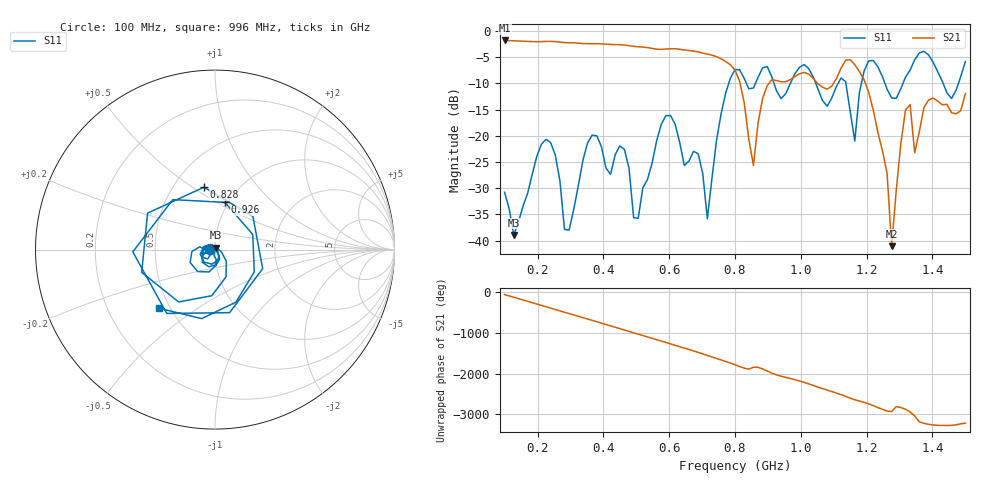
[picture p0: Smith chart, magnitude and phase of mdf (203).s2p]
! NanoVNA-App
! Date: 2025-09-25 15:40:00
! Start: 100MHz Stop: 1,5GHz Points: 101
! S-Parameter data: F S11 S21 S12 S22
# Hz S RI R 50
!  Frequency  S11_Real  S11_Imag  S21_Real  S21_Imag  S12_Real  S12_Imag  S22_Real  S22_Imag
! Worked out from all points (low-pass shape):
!   101 points, 100 MHz to 1.5 GHz, reference 50 ohm
!   highest |S21| = -1.80 dB at 100 MHz (marker M1); lowest = -41.1 dB at 1.276 GHz (marker M2)
!   |S21| within 3 dB of the highest: start of sweep to 739.2 MHz
!   lowest |S11| = -38.9 dB at 128 MHz (marker M3), VSWR 1.02, Z = 50.3 + j1.08 ohm
!   |S11| at or under -10 dB: start of sweep to 781 MHz; 918.5 MHz to 968.2 MHz (49.64 MHz wide, 5.26 % of centre); 1.045 GHz to 1.113 GHz (67.86 MHz wide, 6.29 % of centre) (the widest 3 of 7)
!   S12 and S22 are empty: the file has one direction only
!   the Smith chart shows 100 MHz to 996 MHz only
!   S11 on the Smith chart (normalised r, x): 100 MHz: 0.94, -0.01; 828 MHz: 0.70, +0.56; 926 MHz: 0.96, +0.55; 996 MHz: 0.44, -0.36
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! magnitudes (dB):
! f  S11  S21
! 100 MHz  -30.8  -1.8
! 128 MHz  -38.9  -1.9
! 212 MHz  -21.6  -2.0
! 282 MHz  -37.9  -2.2
! 338 MHz  -24.7  -2.4
! 464 MHz  -22.6  -2.7
! 506 MHz  -35.7  -3.0
! 576 MHz  -17.8  -3.5
! 688 MHz  -23.4  -4.0
! 716 MHz  -35.8  -4.4
! 800 MHz  -7.4  -7.5
! 828 MHz  -9.0  -13.7
! 856 MHz  -10.9  -25.7
! 926 MHz  -11.4  -9.5
! 996 MHz  -6.9  -8.2
! 1.038 GHz  -8.8  -9.1
! 1.136 GHz  -9.7  -5.6
! 1.164 GHz  -21.0  -6.4
! 1.192 GHz  -7.7  -9.3
! 1.276 GHz  -12.8  -41.1
! 1.318 GHz  -8.8  -15.1
! 1.5 GHz  -5.8  -11.9
